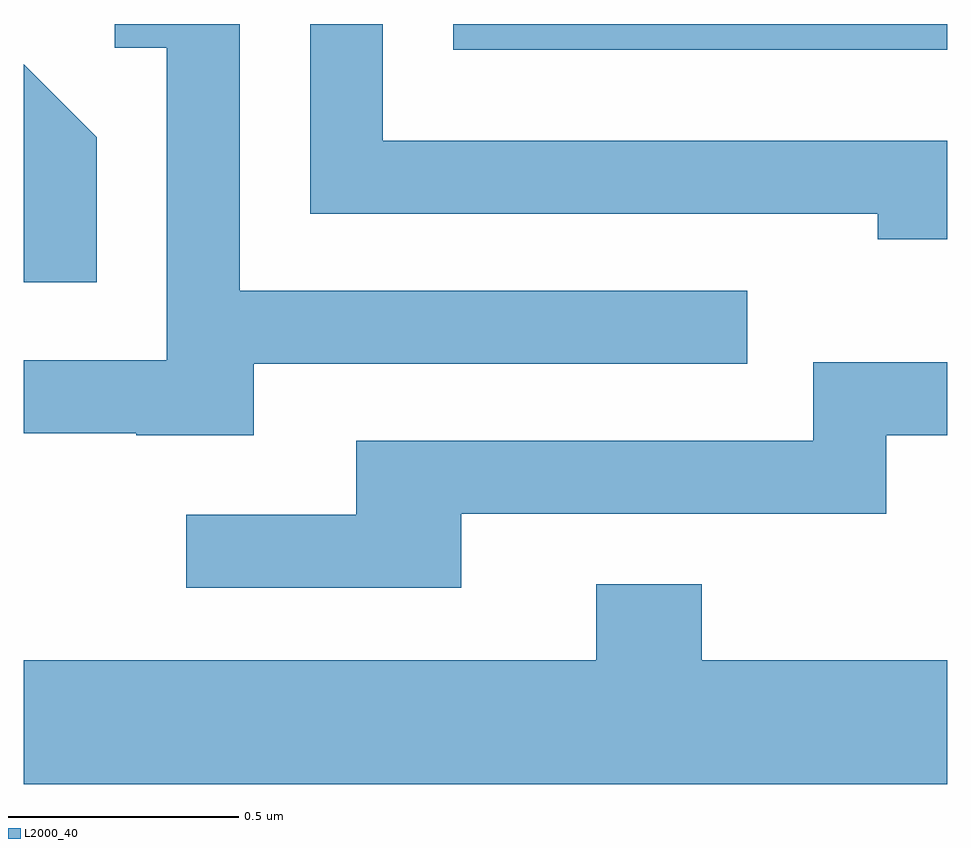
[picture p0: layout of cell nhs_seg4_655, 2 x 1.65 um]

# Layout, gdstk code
import gdstk
lib = gdstk.Library(unit=1e-6, precision=1e-09)
def R(c, l, rs):  # rectangles x0, y0, x1, y1
    for r in rs: c.add(gdstk.rectangle(r[:2], r[2:], *l))
def P(c, l, *ps):  # polygons
    for p in ps: c.add(gdstk.Polygon(p, *l))
L2000_40 = (2000, 40)

nhs_seg4_655 = lib.new_cell('nhs_seg4_655')
R(nhs_seg4_655, L2000_40, [(190.541,1362.926,191.611,1362.982)])
P(nhs_seg4_655, L2000_40, [(191.611,1362.729),(190.389,1362.729),(190.389,1362.982),(190.231,1362.982),(190.231,1362.571),(191.461,1362.571),(191.461,1362.516),(191.611,1362.516)],
  [(190.109,1362.246),(191.178,1362.246),(191.178,1362.404),(190.079,1362.404),(190.079,1362.982),(189.808,1362.982),(189.808,1362.931),(189.921,1362.931),(189.921,1362.254),(189.611,1362.254),(189.611,1362.096),(189.855,1362.096),(189.855,1362.091),(190.109,1362.091)],
  [(189.769,1362.737),(189.611,1362.895),(189.611,1362.423),(189.769,1362.423)],
  [(190.559,1361.921),(191.479,1361.921),(191.479,1362.091),(191.611,1362.091),(191.611,1362.249),(191.321,1362.249),(191.321,1362.079),(190.331,1362.079),(190.331,1361.919),(189.963,1361.919),(189.963,1361.761),(190.559,1361.761)],
  [(191.611,1361.604),(191.079,1361.604),(191.079,1361.769),(190.851,1361.769),(190.851,1361.604),(189.611,1361.604),(189.611,1361.336),(191.611,1361.336)])

lib.write_gds('nhs_seg4_655.gds')
